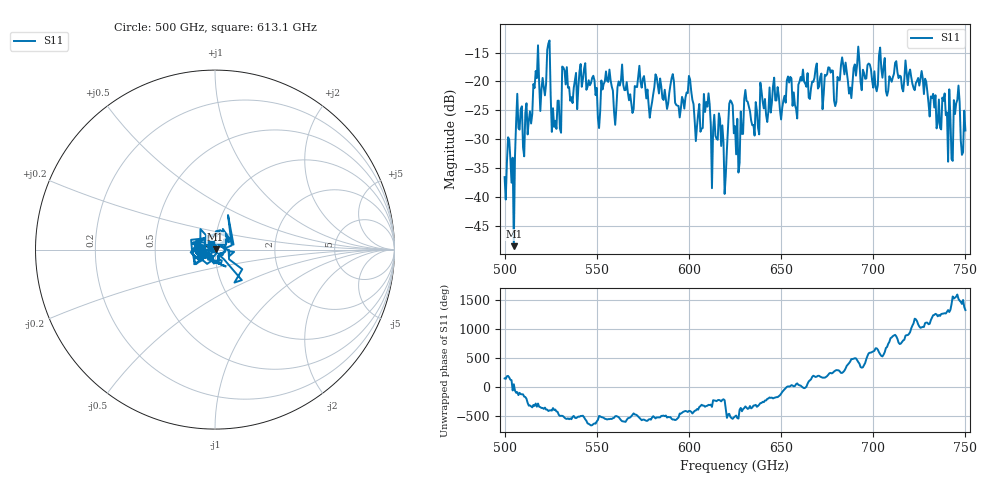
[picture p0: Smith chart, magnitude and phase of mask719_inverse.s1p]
!Created with skrf (http://scikit-rf.org).
# GHz S MA R 50.0
!freq magS11 angS11
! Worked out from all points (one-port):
!   401 points, 500 GHz to 750 GHz, reference 50 ohm
!   lowest |S11| = -48.5 dB at 505 GHz (marker M1), VSWR 1.01, Z = 50.3 + j0.251 ohm
!   |S11| at or under -10 dB: start of sweep to end of sweep
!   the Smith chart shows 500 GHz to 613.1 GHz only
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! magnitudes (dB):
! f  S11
! 500 GHz  -36.6
! 505 GHz  -48.5
! 507.5 GHz  -28.1
! 513.8 GHz  -25.2
! 516.9 GHz  -18.2
! 520.6 GHz  -19.4
! 523.8 GHz  -13.4
! 526.9 GHz  -27.9
! 531.2 GHz  -17.4
! 542.5 GHz  -19.6
! 550.6 GHz  -26.4
! 556.2 GHz  -20.1
! 560 GHz  -27.5
! 562.5 GHz  -20.7
! 590.6 GHz  -19.4
! 593.8 GHz  -24.2
! 609.4 GHz  -23.6
! 619.4 GHz  -39.5
! 622.5 GHz  -23.3
! 625 GHz  -27.7
! 656.2 GHz  -24.2
! 676.9 GHz  -18.5
! 680 GHz  -23.5
! 683.8 GHz  -17.2
! 687.5 GHz  -21.1
! 691.2 GHz  -17.1
! 718.8 GHz  -20.6
! 750 GHz  -28.5
